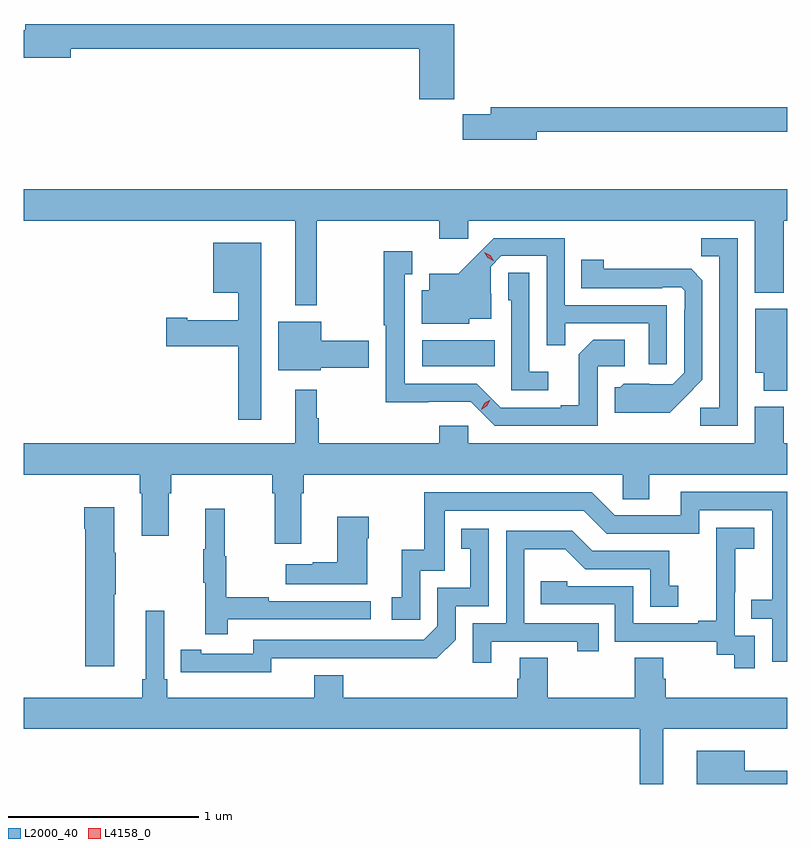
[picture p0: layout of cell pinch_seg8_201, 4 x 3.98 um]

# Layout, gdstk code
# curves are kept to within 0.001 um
import gdstk
lib = gdstk.Library(unit=1e-6, precision=1e-09)
def R(c, l, rs):  # rectangles x0, y0, x1, y1
    for r in rs: c.add(gdstk.rectangle(r[:2], r[2:], *l))
def P(c, l, *ps):  # polygons
    for p in ps: c.add(gdstk.Polygon(p, *l))
L2000_40 = (2000, 40)
L4158_0 = (4158, 0)

pinch_seg8_201 = lib.new_cell('pinch_seg8_201')
R(pinch_seg8_201, L2000_40, [(625.776,1150.37,626.156,1150.504)])
P(pinch_seg8_201, L2000_40, [(625.943,1152.163),(623.693,1152.163),(623.693,1152.129),(623.687,1152.129),(623.687,1151.987),(623.932,1151.987),(623.932,1152.034),(625.76,1152.034),(625.76,1151.769),(625.943,1151.769)],
  [(626.374,1151.598),(627.687,1151.598),(627.687,1151.726),(626.135,1151.726),(626.135,1151.69),(625.986,1151.69),(625.986,1151.555),(626.374,1151.555)],
  [(625.223,1151.132),(625.865,1151.132),(625.865,1151.037),(626.016,1151.037),(626.016,1151.132),(627.518,1151.132),(627.518,1150.754),(627.671,1150.754),(627.671,1151.132),(627.687,1151.132),(627.687,1151.296),(623.687,1151.296),(623.687,1151.132),(625.109,1151.132),(625.109,1150.688),(625.223,1150.688)],
  [(627.429,1151.04),(627.238,1151.04),(627.238,1150.945),(627.333,1150.945),(627.333,1150.152),(627.231,1150.152),(627.231,1150.056),(627.429,1150.056)],
  [(627.057,1150.689),(626.523,1150.689),(626.523,1151.04),(626.15,1151.04),(625.963,1150.855),(625.811,1150.855),(625.811,1150.768),(625.772,1150.768),(625.772,1150.592),(626.022,1150.592),(626.022,1150.619),(626.137,1150.619),(626.137,1150.748),(626.133,1150.748),(626.133,1150.89),(626.19,1150.947),(626.427,1150.947),(626.427,1150.48),(626.525,1150.48),(626.525,1150.593),(626.961,1150.593),(626.961,1150.38),(627.057,1150.38)],
  [(624.931,1151.017),(624.68,1151.017),(624.68,1150.754),(624.81,1150.754),(624.81,1150.609),(624.544,1150.609),(624.544,1150.622),(624.432,1150.622),(624.432,1150.475),(624.81,1150.475),(624.81,1150.089),(624.931,1150.089)],
  [(626.694,1150.368),(626.836,1150.368),(626.836,1150.508),(626.671,1150.508),(626.595,1150.432),(626.595,1150.165),(626.501,1150.165),(626.501,1150.152),(626.187,1150.152),(626.061,1150.278),(625.684,1150.278),(625.684,1150.851),(625.723,1150.851),(625.723,1150.972),(625.573,1150.972),(625.573,1150.585),(625.583,1150.585),(625.583,1150.181),(626.028,1150.182),(626.154,1150.056),(626.694,1150.056)],
  [(627.151,1150.205),(627.243,1150.298),(627.243,1150.82),(627.184,1150.879),(626.727,1150.88),(626.727,1150.927),(626.608,1150.927),(626.608,1150.779),(627.032,1150.779),(627.032,1150.782),(627.132,1150.782),(627.15,1150.764),(627.15,1150.664),(627.147,1150.664),(627.147,1150.335),(627.087,1150.275),(626.83,1150.276),(626.814,1150.26),(626.783,1150.26),(626.783,1150.124),(627.071,1150.124)],
  [(626.434,1150.339),(626.337,1150.339),(626.337,1150.859),(626.226,1150.859),(626.226,1150.716),(626.241,1150.716),(626.241,1150.242),(626.434,1150.242)],
  [(627.687,1150.669),(627.521,1150.669),(627.521,1150.334),(627.566,1150.334),(627.566,1150.241),(627.687,1150.241)],
  [(625.242,1150.36),(625.495,1150.36),(625.495,1150.502),(625.246,1150.502),(625.246,1150.603),(625.019,1150.603),(625.019,1150.349),(625.242,1150.349)],
  [(625.141,1149.704),(625.154,1149.704),(625.154,1149.8),(626.826,1149.8),(626.826,1149.673),(626.965,1149.673),(626.965,1149.8),(627.687,1149.8),(627.687,1149.964),(627.671,1149.964),(627.671,1150.156),(627.518,1150.156),(627.518,1149.964),(626.016,1149.964),(626.016,1150.057),(625.865,1150.057),(625.865,1149.964),(625.231,1149.964),(625.231,1150.097),(625.223,1150.097),(625.223,1150.246),(625.109,1150.246),(625.109,1149.964),(623.687,1149.964),(623.687,1149.8),(624.293,1149.8),(624.293,1149.704),(624.305,1149.704),(624.305,1149.48),(624.445,1149.48),(624.445,1149.704),(624.458,1149.704),(624.458,1149.8),(624.989,1149.8),(624.989,1149.704),(625.001,1149.704),(625.001,1149.438),(625.141,1149.438)],
  [(627.687,1149.711),(627.131,1149.711),(627.131,1149.588),(626.784,1149.588),(626.664,1149.708),(625.785,1149.708),(625.785,1149.406),(625.667,1149.406),(625.667,1149.159),(625.614,1149.159),(625.614,1149.039),(625.764,1149.039),(625.764,1149.297),(625.893,1149.297),(625.893,1149.612),(626.622,1149.612),(626.742,1149.492),(627.228,1149.492),(627.228,1149.615),(627.609,1149.615),(627.609,1149.146),(627.499,1149.146),(627.499,1149.045),(627.609,1149.045),(627.609,1148.82),(627.687,1148.82)],
  [(624.16,1149.175),(624.168,1149.175),(624.168,1149.392),(624.16,1149.392),(624.16,1149.631),(624.002,1149.631),(624.002,1149.518),(624.007,1149.518),(624.007,1148.796),(624.16,1148.796)],
  [(624.755,1149.042),(625.504,1149.042),(625.504,1149.138),(624.971,1149.138),(624.971,1149.158),(624.748,1149.158),(624.748,1149.372),(624.74,1149.372),(624.74,1149.622),(624.638,1149.622),(624.638,1149.409),(624.627,1149.409),(624.627,1149.235),(624.638,1149.235),(624.638,1148.964),(624.755,1148.964)],
  [(625.486,1149.467),(625.494,1149.467),(625.494,1149.58),(625.328,1149.58),(625.328,1149.341),(625.202,1149.341),(625.202,1149.331),(625.059,1149.331),(625.059,1149.227),(625.486,1149.227)],
  [(627.519,1148.955),(627.414,1148.955),(627.414,1149.185),(627.416,1149.185),(627.416,1149.413),(627.514,1149.413),(627.514,1149.523),(627.316,1149.523),(627.316,1149.317),(627.317,1149.317),(627.317,1149.034),(627.221,1149.034),(627.221,1149.021),(626.88,1149.021),(626.88,1149.216),(626.535,1149.216),(626.535,1149.243),(626.395,1149.243),(626.395,1149.12),(626.784,1149.12),(626.784,1148.925),(627.318,1148.925),(627.318,1148.857),(627.411,1148.857),(627.411,1148.787),(627.519,1148.787)],
  [(624.984,1148.838),(625.852,1148.837),(625.95,1148.934),(625.95,1149.111),(626.124,1149.111),(626.124,1149.517),(625.978,1149.517),(625.978,1149.411),(626.027,1149.411),(626.027,1149.207),(625.854,1149.207),(625.854,1149.006),(625.782,1148.934),(624.888,1148.934),(624.888,1148.862),(624.616,1148.862),(624.616,1148.882),(624.508,1148.882),(624.508,1148.766),(624.984,1148.765)],
  [(626.137,1148.925),(626.588,1148.925),(626.588,1148.874),(626.699,1148.874),(626.699,1149.021),(626.31,1149.021),(626.31,1149.41),(626.524,1149.41),(626.628,1149.306),(626.97,1149.306),(626.97,1149.108),(627.118,1149.108),(627.118,1149.217),(627.069,1149.217),(627.069,1149.402),(626.665,1149.402),(626.56,1149.507),(626.214,1149.507),(626.214,1149.021),(626.04,1149.021),(626.04,1148.814),(626.137,1148.814)],
  [(627.037,1148.468),(627.687,1148.468),(627.687,1148.632),(627.05,1148.632),(627.05,1148.73),(627.037,1148.73),(627.037,1148.84),(626.89,1148.84),(626.89,1148.632),(626.433,1148.632),(626.433,1148.84),(626.285,1148.84),(626.285,1148.73),(626.273,1148.73),(626.273,1148.632),(625.361,1148.632),(625.361,1148.749),(625.208,1148.749),(625.208,1148.632),(624.437,1148.632),(624.437,1148.728),(624.423,1148.728),(624.423,1149.088),(624.326,1149.088),(624.326,1148.728),(624.307,1148.728),(624.307,1148.632),(623.687,1148.632),(623.687,1148.468),(626.916,1148.468),(626.916,1148.179),(627.037,1148.179)],
  [(627.687,1148.248),(627.466,1148.248),(627.466,1148.353),(627.215,1148.353),(627.215,1148.179),(627.687,1148.179)])
P(pinch_seg8_201, L4158_0, [(626.148,1150.922),(626.118,1150.937),(626.1,1150.966),(626.1,1150.967),(626.1,1150.967),(626.131,1150.952),(626.149,1150.922),(626.149,1150.922)],
  [(626.083,1150.141),(626.083,1150.141),(626.1,1150.174),(626.132,1150.194),(626.132,1150.194),(626.132,1150.194),(626.115,1150.161),(626.084,1150.141)])

lib.write_gds('pinch_seg8_201.gds')
